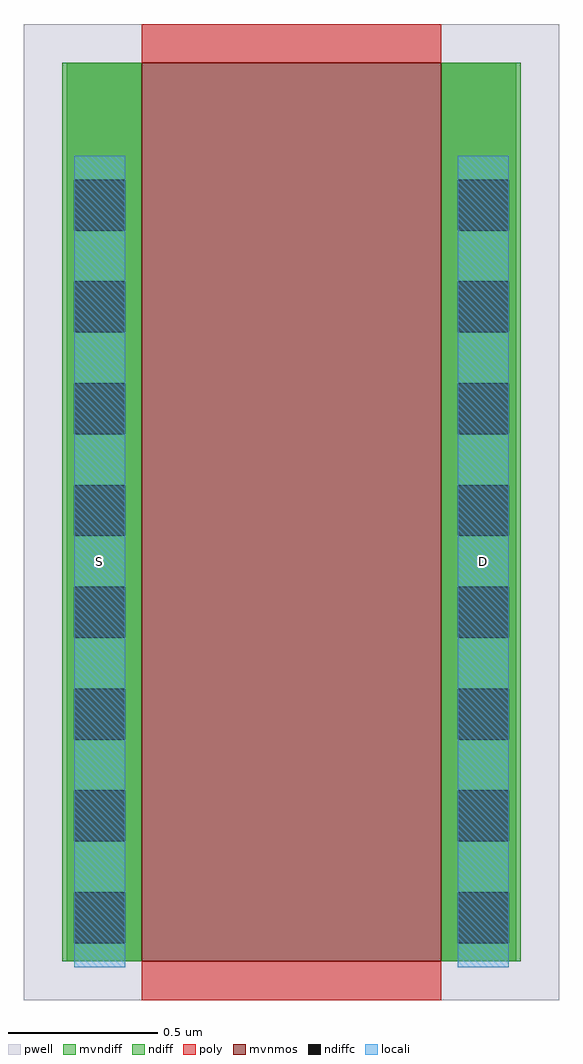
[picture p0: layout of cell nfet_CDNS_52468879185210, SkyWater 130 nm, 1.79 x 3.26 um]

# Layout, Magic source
magic
tech sky130A
magscale 1 2
<< pwell >>
rect -76 -26 276 626
<< mvnmos >>
rect 0 0 200 600
<< mvndiff >>
rect -50 0 0 600
rect 200 0 250 600
<< poly >>
rect 0 600 200 626
rect 0 -26 200 0
<< locali >>
rect -45 -4 -11 538
rect 211 -4 245 538
use DFL1sd_CDNS_5246887918542  DFL1sd_CDNS_5246887918542_0
transform -1 0 0 0 1 0
box -26 -26 79 626
use DFL1sd_CDNS_5246887918542  DFL1sd_CDNS_5246887918542_1
transform 1 0 200 0 1 0
box -26 -26 79 626
<< labels >>
flabel comment s -28 267 -28 267 0 FreeSans 300 0 0 0 S
flabel comment s 228 267 228 267 0 FreeSans 300 0 0 0 D
<< properties >>
string GDS_END 85842808
string GDS_FILE $PDKPATH/libs.ref/sky130_fd_io/gds/sky130_fd_io.gds
string GDS_START 85841922
<< end >>

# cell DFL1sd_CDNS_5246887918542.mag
magic
tech sky130A
magscale 1 2
<< pwell >>
rect -26 -26 79 626
<< ndiff >>
rect 0 522 53 600
rect 0 488 11 522
rect 45 488 53 522
rect 0 454 53 488
rect 0 420 11 454
rect 45 420 53 454
rect 0 386 53 420
rect 0 352 11 386
rect 45 352 53 386
rect 0 318 53 352
rect 0 284 11 318
rect 45 284 53 318
rect 0 250 53 284
rect 0 216 11 250
rect 45 216 53 250
rect 0 182 53 216
rect 0 148 11 182
rect 45 148 53 182
rect 0 114 53 148
rect 0 80 11 114
rect 45 80 53 114
rect 0 46 53 80
rect 0 12 11 46
rect 45 12 53 46
rect 0 0 53 12
<< ndiffc >>
rect 11 488 45 522
rect 11 420 45 454
rect 11 352 45 386
rect 11 284 45 318
rect 11 216 45 250
rect 11 148 45 182
rect 11 80 45 114
rect 11 12 45 46
<< locali >>
rect 11 522 45 538
rect 11 454 45 488
rect 11 386 45 420
rect 11 318 45 352
rect 11 250 45 284
rect 11 182 45 216
rect 11 114 45 148
rect 11 46 45 80
rect 11 -4 45 12
<< properties >>
string GDS_END 21567168
string GDS_FILE $PDKPATH/libs.ref/sky130_fd_io/gds/sky130_fd_io.gds
string GDS_START 21566460
<< end >>
